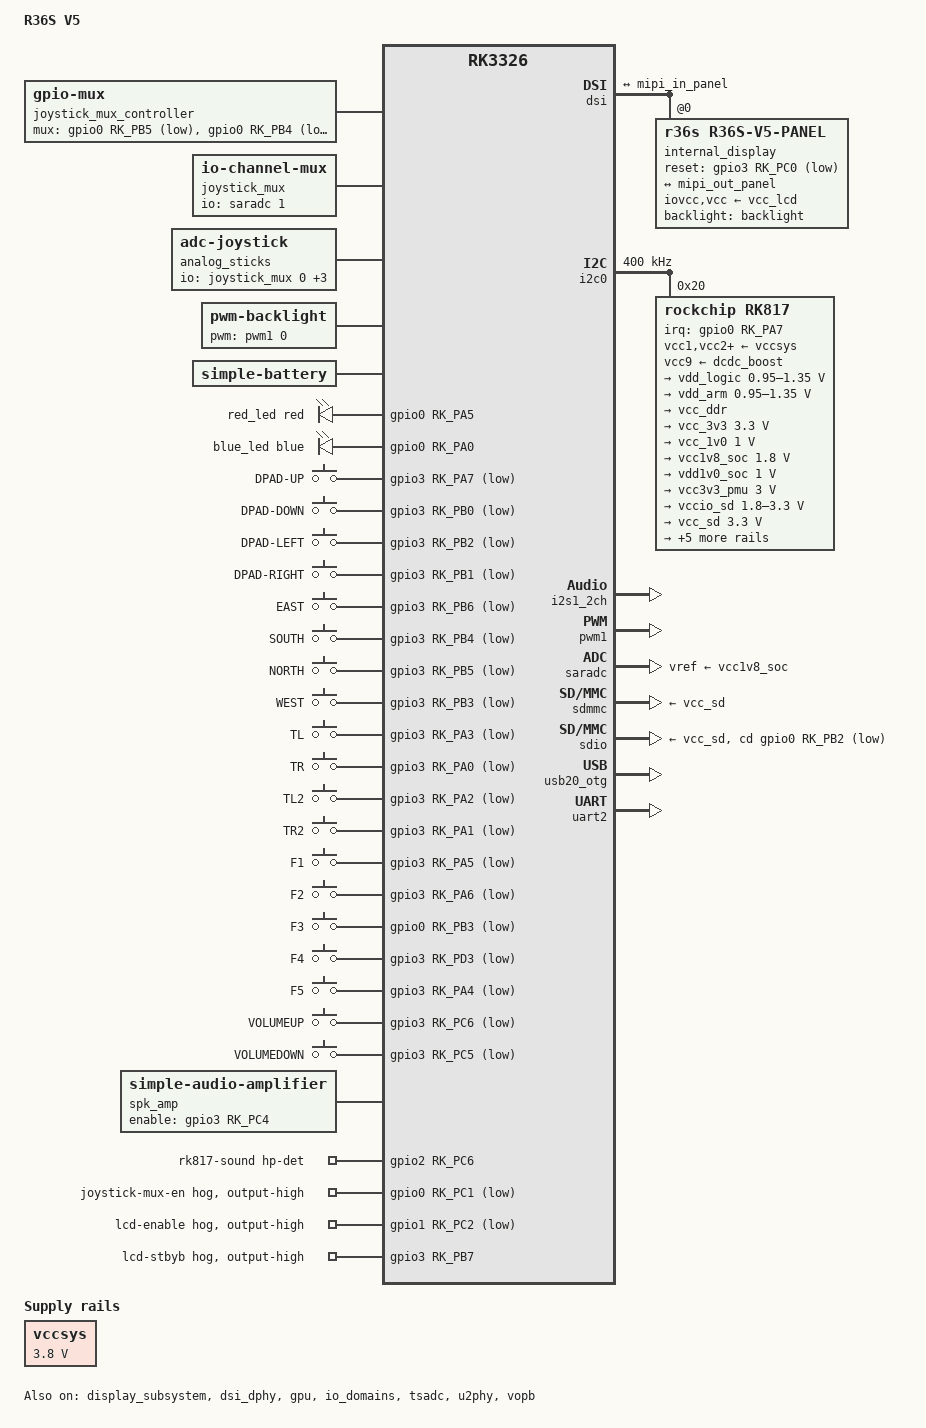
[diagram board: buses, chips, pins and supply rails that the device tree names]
// SPDX-License-Identifier: (GPL-2.0+ OR MIT)
/*
 * R36S "V5" handheld game console (Rockchip RK3326).
 *
 * Structure of rk3326-odroid-go3.dts and rk3326-gameforce-chi.dts (mainline). The values
 * come from the factory device tree of the device (rk3326-r35s-linux.dtb on its BOOT
 * partition; appendix A of the alpine-retroarch-distro design). OPPs and thermal zones
 * are those of rk3326.dtsi, unchanged.
 */

/dts-v1/;
#include <dt-bindings/gpio/gpio.h>
#include <dt-bindings/input/input.h>
#include <dt-bindings/leds/common.h>
#include <dt-bindings/pinctrl/rockchip.h>
#include "rk3326.dtsi"

/ {
	model = "R36S V5";
	compatible = "r36s,r36s-v5", "rockchip,rk3326";
	chassis-type = "handset";

	aliases {
		mmc0 = &sdmmc;
		mmc1 = &sdio;
	};

	chosen {
		stdout-path = "serial2:1500000n8";
	};

	/* Sticks: SARADC channel 1 behind a 4-way mux (A gpio0 13, B gpio0 12) */
	joystick_mux_controller: mux-controller {
		compatible = "gpio-mux";
		#mux-control-cells = <0>;
		mux-gpios = <&gpio0 RK_PB5 GPIO_ACTIVE_LOW>,
			    <&gpio0 RK_PB4 GPIO_ACTIVE_LOW>;
	};

	joystick_mux: adc-mux {
		compatible = "io-channel-mux";
		io-channels = <&saradc 1>;
		io-channel-names = "parent";
		#io-channel-cells = <1>;
		mux-controls = <&joystick_mux_controller>;
		channels = "0", "1", "2", "3";
	};

	/*
	 * Channels and directions from a scripted test on the user's R36S V5 (boot 19, log
	 * boot-10, 2026-11-13: each direction held, left stick first), read from the kernel
	 * events, not from the RetroArch menu. Left stick: channel 1 horizontal and channel 3
	 * vertical, both reading high to the left and up, so inverted. Right stick: channel 2
	 * horizontal and channel 0 vertical, both reading low to the left and up, as read.
	 * adc-joystick has no calibration, so each range is centred on the rest value
	 * measured on this device (boots 15 and 16: ch0 ~435, ch2 ~455, ch1 ~520, ch3 ~490)
	 * with +-330 of travel. Calibration at start is task 6.8.
	 */
	analog_sticks: adc-joystick {
		compatible = "adc-joystick";
		io-channels = <&joystick_mux 0>,
			      <&joystick_mux 1>,
			      <&joystick_mux 2>,
			      <&joystick_mux 3>;
		poll-interval = <10>;
		#address-cells = <1>;
		#size-cells = <0>;

		/* right stick, vertical */
		axis@0 {
			reg = <0>;
			abs-flat = <32>;
			abs-fuzz = <32>;
			abs-range = <105 765>;
			linux,code = <ABS_RY>;
		};

		/* left stick, horizontal (inverted) */
		axis@1 {
			reg = <1>;
			abs-flat = <32>;
			abs-fuzz = <32>;
			abs-range = <850 190>;
			linux,code = <ABS_X>;
		};

		/* right stick, horizontal */
		axis@2 {
			reg = <2>;
			abs-flat = <32>;
			abs-fuzz = <32>;
			abs-range = <125 785>;
			linux,code = <ABS_RX>;
		};

		/* left stick, vertical (inverted) */
		axis@3 {
			reg = <3>;
			abs-flat = <32>;
			abs-fuzz = <32>;
			abs-range = <820 160>;
			linux,code = <ABS_Y>;
		};
	};

	/* PWM1, 40 us period, levels 0-160, default 80 (factory values) */
	backlight: backlight {
		compatible = "pwm-backlight";
		pwms = <&pwm1 0 40000 0>;
		brightness-levels = <0 160>;
		num-interpolated-steps = <160>;
		default-brightness-level = <80>;
	};

	battery: battery {
		compatible = "simple-battery";
		charge-full-design-microamp-hours = <3188000>;
		charge-term-current-microamp = <300000>;
		constant-charge-current-max-microamp = <2000000>;
		constant-charge-voltage-max-microvolt = <4200000>;
		factory-internal-resistance-micro-ohms = <113000>;
		voltage-max-design-microvolt = <4200000>;
		voltage-min-design-microvolt = <3300000>;
		ocv-capacity-celsius = <20>;
		ocv-capacity-table-0 =  <4182000 100>, <4075000 95>, <4028000 90>, <4012000 85>,
					<3961000 80>, <3911000 75>, <3886000 70>, <3852000 65>,
					<3809000 60>, <3759000 55>, <3701000 50>, <3660000 45>,
					<3634000 40>, <3615000 35>, <3599000 30>, <3582000 25>,
					<3559000 20>, <3529000 15>, <3493000 10>, <3444000 5>,
					<3400000 0>;
	};

	gpio-leds {
		compatible = "gpio-leds";
		pinctrl-names = "default";
		pinctrl-0 = <&led_pins>;

		red_led: led-0 {
			color = <LED_COLOR_ID_RED>;
			function = LED_FUNCTION_INDICATOR;
			gpios = <&gpio0 RK_PA5 GPIO_ACTIVE_HIGH>;
		};

		/* lit by the initramfs as soon as the kernel reaches init */
		blue_led: led-1 {
			color = <LED_COLOR_ID_BLUE>;
			function = LED_FUNCTION_STATUS;
			gpios = <&gpio0 RK_PA0 GPIO_ACTIVE_HIGH>;
		};
	};

	/* 17 buttons, active low; r36os-padmerge joins them with the sticks (D8) */
	gpio-keys {
		compatible = "gpio-keys";
		pinctrl-names = "default";
		pinctrl-0 = <&btn_pins>;

		button-up {
			gpios = <&gpio3 RK_PA7 GPIO_ACTIVE_LOW>;
			label = "DPAD-UP";
			linux,code = <BTN_DPAD_UP>;
		};

		button-down {
			gpios = <&gpio3 RK_PB0 GPIO_ACTIVE_LOW>;
			label = "DPAD-DOWN";
			linux,code = <BTN_DPAD_DOWN>;
		};

		button-left {
			gpios = <&gpio3 RK_PB2 GPIO_ACTIVE_LOW>;
			label = "DPAD-LEFT";
			linux,code = <BTN_DPAD_LEFT>;
		};

		button-right {
			gpios = <&gpio3 RK_PB1 GPIO_ACTIVE_LOW>;
			label = "DPAD-RIGHT";
			linux,code = <BTN_DPAD_RIGHT>;
		};

		button-a {
			gpios = <&gpio3 RK_PB6 GPIO_ACTIVE_LOW>;
			label = "EAST";
			linux,code = <BTN_EAST>;
		};

		button-b {
			gpios = <&gpio3 RK_PB4 GPIO_ACTIVE_LOW>;
			label = "SOUTH";
			linux,code = <BTN_SOUTH>;
		};

		button-x {
			gpios = <&gpio3 RK_PB5 GPIO_ACTIVE_LOW>;
			label = "NORTH";
			linux,code = <BTN_NORTH>;
		};

		button-y {
			gpios = <&gpio3 RK_PB3 GPIO_ACTIVE_LOW>;
			label = "WEST";
			linux,code = <BTN_WEST>;
		};

		button-l1 {
			gpios = <&gpio3 RK_PA3 GPIO_ACTIVE_LOW>;
			label = "TL";
			linux,code = <BTN_TL>;
		};

		button-r1 {
			gpios = <&gpio3 RK_PA0 GPIO_ACTIVE_LOW>;
			label = "TR";
			linux,code = <BTN_TR>;
		};

		button-l2 {
			gpios = <&gpio3 RK_PA2 GPIO_ACTIVE_LOW>;
			label = "TL2";
			linux,code = <BTN_TL2>;
		};

		button-r2 {
			gpios = <&gpio3 RK_PA1 GPIO_ACTIVE_LOW>;
			label = "TR2";
			linux,code = <BTN_TR2>;
		};

		/* F1-F5: the order of the keys on the case is confirmed on the device */
		button-f1 {
			gpios = <&gpio3 RK_PA5 GPIO_ACTIVE_LOW>;
			label = "F1";
			linux,code = <BTN_TRIGGER_HAPPY1>;
		};

		button-f2 {
			gpios = <&gpio3 RK_PA6 GPIO_ACTIVE_LOW>;
			label = "F2";
			linux,code = <BTN_TRIGGER_HAPPY2>;
		};

		button-f3 {
			gpios = <&gpio0 RK_PB3 GPIO_ACTIVE_LOW>;
			label = "F3";
			linux,code = <BTN_TRIGGER_HAPPY3>;
		};

		button-f4 {
			gpios = <&gpio3 RK_PD3 GPIO_ACTIVE_LOW>;
			label = "F4";
			linux,code = <BTN_TRIGGER_HAPPY4>;
		};

		button-f5 {
			gpios = <&gpio3 RK_PA4 GPIO_ACTIVE_LOW>;
			label = "F5";
			linux,code = <BTN_TRIGGER_HAPPY5>;
		};
	};

	/* Volume keys (factory odroidgo3-keys), kept apart from the gamepad */
	volume-keys {
		compatible = "gpio-keys";
		pinctrl-names = "default";
		pinctrl-0 = <&vol_pins>;
		autorepeat;

		button-vol-up {
			gpios = <&gpio3 RK_PC6 GPIO_ACTIVE_LOW>;
			label = "VOLUMEUP";
			linux,code = <KEY_VOLUMEUP>;
		};

		button-vol-down {
			gpios = <&gpio3 RK_PC5 GPIO_ACTIVE_LOW>;
			label = "VOLUMEDOWN";
			linux,code = <KEY_VOLUMEDOWN>;
		};
	};

	/*
	 * Speaker stage enabled by gpio3 20 (spk-ctl-gpios of the factory codec node), after
	 * the RK817 speaker output (SPKO, its class D stage). The factory driver raises it only
	 * while the speaker path plays; held high all the time (boots 18 to 24) the speaker
	 * hummed from the start of the boot. As a simple-audio-amplifier, DAPM drives it with
	 * the speaker path. (Boots 16 and 17 were silent with this wiring because of the codec,
	 * fixed by patch 0024, not because of the amplifier.)
	 */
	spk_amp: audio-amplifier {
		compatible = "simple-audio-amplifier";
		enable-gpios = <&gpio3 RK_PC4 GPIO_ACTIVE_HIGH>;
		pinctrl-names = "default";
		pinctrl-0 = <&spk_amp_enable_h>;
		sound-name-prefix = "Speaker Amp";
	};

	rk817-sound {
		compatible = "simple-audio-card";
		pinctrl-names = "default";
		pinctrl-0 = <&hp_det>;
		simple-audio-card,name = "rk817_int";
		simple-audio-card,aux-devs = <&spk_amp>;
		simple-audio-card,format = "i2s";
		/*
		 * Active high, as the factory rk_headset node (headset_gpio, flag 0): the line reads
		 * low with nothing plugged in. Active low reported headphones all the time, the
		 * jack service kept the playback mux on HP and the speaker was silent (boot 16).
		 */
		simple-audio-card,hp-det-gpios = <&gpio2 RK_PC6 GPIO_ACTIVE_HIGH>;
		simple-audio-card,mclk-fs = <256>;
		simple-audio-card,widgets =
			"Microphone", "Mic Jack",
			"Headphone", "Headphones",
			"Speaker", "Internal Speakers";
		simple-audio-card,routing =
			"MICL", "Mic Jack",
			"Headphones", "HPOL",
			"Headphones", "HPOR",
			"Speaker Amp INL", "SPKO",
			"Speaker Amp INR", "SPKO",
			"Internal Speakers", "Speaker Amp OUTL",
			"Internal Speakers", "Speaker Amp OUTR";
		simple-audio-card,pin-switches = "Internal Speakers";

		simple-audio-card,codec {
			sound-dai = <&rk817>;
		};

		simple-audio-card,cpu {
			sound-dai = <&i2s1_2ch>;
		};
	};

	vccsys: regulator-vccsys {
		compatible = "regulator-fixed";
		regulator-name = "vcc3v8_sys";
		regulator-always-on;
		regulator-boot-on;
		regulator-min-microvolt = <3800000>;
		regulator-max-microvolt = <3800000>;
	};
};

&cpu0 {
	cpu-supply = <&vdd_arm>;
};

&cpu1 {
	cpu-supply = <&vdd_arm>;
};

&cpu2 {
	cpu-supply = <&vdd_arm>;
};

&cpu3 {
	cpu-supply = <&vdd_arm>;
};

&display_subsystem {
	status = "okay";
};

&dsi {
	#address-cells = <1>;
	#size-cells = <0>;
	status = "okay";
	/*
	 * The link as the factory kernel runs it (register dump of the running factory
	 * system, task 4.6): 180 Mbps per lane and the LP/HS transition times of
	 * PHY_TMR_LPCLK_CFG 0x00400040 and PHY_TMR_CFG 0x14102710 (kernel patch 0019).
	 */
	rockchip,lane-rate = <180>;
	rockchip,phy-hstt = <64 64 16 20>;

	/*
	 * The enable (gpio1 18, active low) and stbyb (gpio3 15, active high) lines of the
	 * factory panel node are held by the hogs below; the ST7703 driver only drives reset.
	 */
	internal_display: panel@0 {
		compatible = "r36s,r36s-v5-panel";
		reg = <0>;
		backlight = <&backlight>;
		iovcc-supply = <&vcc_lcd>;
		vcc-supply = <&vcc_lcd>;
		reset-gpios = <&gpio3 RK_PC0 GPIO_ACTIVE_LOW>;

		port {
			mipi_in_panel: endpoint {
				remote-endpoint = <&mipi_out_panel>;
			};
		};
	};

	ports {
		mipi_out: port@1 {
			reg = <1>;

			mipi_out_panel: endpoint {
				remote-endpoint = <&mipi_in_panel>;
			};
		};
	};
};

&dsi_dphy {
	/* as the factory firmware leaves it (kernel patch 0011) */
	rockchip,txclkesc-not-inverted;
	status = "okay";
};

&gpio0 {
	/* enable of the stick multiplexer (active low) */
	joystick-mux-en-hog {
		gpio-hog;
		gpios = <RK_PC1 GPIO_ACTIVE_LOW>;
		output-high;
		line-name = "joystick-mux-en";
	};
};

&gpio1 {
	lcd-enable-hog {
		gpio-hog;
		gpios = <RK_PC2 GPIO_ACTIVE_LOW>;
		output-high;
		line-name = "lcd-enable";
	};
};

&gpio3 {
	lcd-stbyb-hog {
		gpio-hog;
		gpios = <RK_PB7 GPIO_ACTIVE_HIGH>;
		output-high;
		line-name = "lcd-stbyb";
	};
};

&gpu {
	mali-supply = <&vdd_logic>;
	status = "okay";
};

&i2c0 {
	clock-frequency = <400000>;
	i2c-scl-falling-time-ns = <16>;
	i2c-scl-rising-time-ns = <280>;
	status = "okay";

	rk817: pmic@20 {
		compatible = "rockchip,rk817";
		reg = <0x20>;
		#clock-cells = <1>;
		clock-names = "mclk";
		clock-output-names = "rk808-clkout1", "xin32k";
		clocks = <&cru SCLK_I2S1_OUT>;
		interrupt-parent = <&gpio0>;
		interrupts = <RK_PA7 IRQ_TYPE_LEVEL_LOW>;
		pinctrl-names = "default";
		pinctrl-0 = <&pmic_int>, <&i2s1_2ch_mclk>;
		#sound-dai-cells = <0>;
		system-power-controller;
		wakeup-source;

		vcc1-supply = <&vccsys>;
		vcc2-supply = <&vccsys>;
		vcc3-supply = <&vccsys>;
		vcc4-supply = <&vccsys>;
		vcc5-supply = <&vccsys>;
		vcc6-supply = <&vccsys>;
		vcc7-supply = <&vccsys>;
		vcc8-supply = <&vccsys>;
		vcc9-supply = <&dcdc_boost>;

		regulators {
			vdd_logic: DCDC_REG1 {
				regulator-always-on;
				regulator-boot-on;
				regulator-min-microvolt = <950000>;
				regulator-max-microvolt = <1350000>;
				regulator-name = "vdd_logic";
				regulator-ramp-delay = <6001>;

				regulator-state-mem {
					regulator-on-in-suspend;
					regulator-suspend-microvolt = <950000>;
				};
			};

			vdd_arm: DCDC_REG2 {
				regulator-always-on;
				regulator-boot-on;
				regulator-min-microvolt = <950000>;
				regulator-max-microvolt = <1350000>;
				regulator-name = "vdd_arm";
				regulator-ramp-delay = <6001>;

				regulator-state-mem {
					regulator-off-in-suspend;
					regulator-suspend-microvolt = <950000>;
				};
			};

			vcc_ddr: DCDC_REG3 {
				regulator-always-on;
				regulator-boot-on;
				regulator-name = "vcc_ddr";

				regulator-state-mem {
					regulator-on-in-suspend;
				};
			};

			vcc_3v3: DCDC_REG4 {
				regulator-always-on;
				regulator-boot-on;
				regulator-min-microvolt = <3300000>;
				regulator-max-microvolt = <3300000>;
				regulator-name = "vcc_3v3";

				regulator-state-mem {
					regulator-on-in-suspend;
					regulator-suspend-microvolt = <3300000>;
				};
			};

			vcc_1v0: LDO_REG1 {
				regulator-always-on;
				regulator-boot-on;
				regulator-min-microvolt = <1000000>;
				regulator-max-microvolt = <1000000>;
				regulator-name = "vcc_1v0";

				regulator-state-mem {
					regulator-off-in-suspend;
					regulator-suspend-microvolt = <1000000>;
				};
			};

			vcc1v8_soc: LDO_REG2 {
				regulator-always-on;
				regulator-boot-on;
				regulator-min-microvolt = <1800000>;
				regulator-max-microvolt = <1800000>;
				regulator-name = "vcc1v8_soc";

				regulator-state-mem {
					regulator-on-in-suspend;
					regulator-suspend-microvolt = <1800000>;
				};
			};

			vdd1v0_soc: LDO_REG3 {
				regulator-always-on;
				regulator-boot-on;
				regulator-min-microvolt = <1000000>;
				regulator-max-microvolt = <1000000>;
				regulator-name = "vdd1v0_soc";

				regulator-state-mem {
					regulator-on-in-suspend;
					regulator-suspend-microvolt = <1000000>;
				};
			};

			vcc3v3_pmu: LDO_REG4 {
				regulator-always-on;
				regulator-boot-on;
				regulator-min-microvolt = <3000000>;
				regulator-max-microvolt = <3000000>;
				regulator-name = "vcc3v3_pmu";

				regulator-state-mem {
					regulator-on-in-suspend;
					regulator-suspend-microvolt = <3000000>;
				};
			};

			vccio_sd: LDO_REG5 {
				regulator-always-on;
				regulator-boot-on;
				regulator-min-microvolt = <1800000>;
				regulator-max-microvolt = <3300000>;
				regulator-name = "vccio_sd";

				regulator-state-mem {
					regulator-on-in-suspend;
					regulator-suspend-microvolt = <3300000>;
				};
			};

			vcc_sd: LDO_REG6 {
				regulator-boot-on;
				regulator-min-microvolt = <3300000>;
				regulator-max-microvolt = <3300000>;
				regulator-name = "vcc_sd";

				regulator-state-mem {
					regulator-on-in-suspend;
					regulator-suspend-microvolt = <3300000>;
				};
			};

			vcc2v8_dvp: LDO_REG7 {
				regulator-always-on;
				regulator-boot-on;
				regulator-min-microvolt = <3300000>;
				regulator-max-microvolt = <3300000>;
				regulator-name = "vcc2v8_dvp";

				regulator-state-mem {
					regulator-off-in-suspend;
					regulator-suspend-microvolt = <3300000>;
				};
			};

			/* panel supply (vcc and iovcc of the ST7703) */
			vcc_lcd: LDO_REG8 {
				regulator-always-on;
				regulator-boot-on;
				regulator-min-microvolt = <1800000>;
				regulator-max-microvolt = <1800000>;
				regulator-name = "vcc_lcd";

				regulator-state-mem {
					regulator-off-in-suspend;
					regulator-suspend-microvolt = <1800000>;
				};
			};

			vdd_11: LDO_REG9 {
				regulator-always-on;
				regulator-boot-on;
				regulator-min-microvolt = <1100000>;
				regulator-max-microvolt = <1100000>;
				regulator-name = "vdd_11";

				regulator-state-mem {
					regulator-on-in-suspend;
					regulator-suspend-microvolt = <1100000>;
				};
			};

			dcdc_boost: BOOST {
				regulator-always-on;
				regulator-boot-on;
				regulator-min-microvolt = <4700000>;
				regulator-max-microvolt = <5400000>;
				regulator-name = "boost";
			};

			otg_switch: OTG_SWITCH {
				regulator-boot-on;
				regulator-name = "otg_switch";
			};
		};

		rk817_charger: charger {
			monitored-battery = <&battery>;
			rockchip,resistor-sense-micro-ohms = <10000>;
			rockchip,sleep-enter-current-microamp = <300000>;
			rockchip,sleep-filter-current-microamp = <100000>;
		};
	};
};

&i2s1_2ch {
	status = "okay";
};

&io_domains {
	vccio1-supply = <&vccio_sd>;
	vccio2-supply = <&vccio_sd>;
	vccio3-supply = <&vcc_3v3>;
	vccio4-supply = <&vcc_3v3>;
	vccio5-supply = <&vcc_3v3>;
	vccio6-supply = <&vcc_3v3>;
	status = "okay";
};

&pinctrl {
	btns {
		btn_pins: btn-pins {
			rockchip,pins =
				<0 RK_PB3 RK_FUNC_GPIO &pcfg_pull_up>,
				<3 RK_PA0 RK_FUNC_GPIO &pcfg_pull_up>,
				<3 RK_PA1 RK_FUNC_GPIO &pcfg_pull_up>,
				<3 RK_PA2 RK_FUNC_GPIO &pcfg_pull_up>,
				<3 RK_PA3 RK_FUNC_GPIO &pcfg_pull_up>,
				<3 RK_PA4 RK_FUNC_GPIO &pcfg_pull_up>,
				<3 RK_PA5 RK_FUNC_GPIO &pcfg_pull_up>,
				<3 RK_PA6 RK_FUNC_GPIO &pcfg_pull_up>,
				<3 RK_PA7 RK_FUNC_GPIO &pcfg_pull_up>,
				<3 RK_PB0 RK_FUNC_GPIO &pcfg_pull_up>,
				<3 RK_PB1 RK_FUNC_GPIO &pcfg_pull_up>,
				<3 RK_PB2 RK_FUNC_GPIO &pcfg_pull_up>,
				<3 RK_PB3 RK_FUNC_GPIO &pcfg_pull_up>,
				<3 RK_PB4 RK_FUNC_GPIO &pcfg_pull_up>,
				<3 RK_PB5 RK_FUNC_GPIO &pcfg_pull_up>,
				<3 RK_PB6 RK_FUNC_GPIO &pcfg_pull_up>,
				<3 RK_PD3 RK_FUNC_GPIO &pcfg_pull_up>;
		};

		vol_pins: vol-pins {
			rockchip,pins =
				<3 RK_PC5 RK_FUNC_GPIO &pcfg_pull_up>,
				<3 RK_PC6 RK_FUNC_GPIO &pcfg_pull_up>;
		};
	};

	headphone {
		hp_det: hp-det {
			rockchip,pins =
				<2 RK_PC6 RK_FUNC_GPIO &pcfg_pull_up>;
		};
	};

	leds {
		led_pins: led-pins {
			rockchip,pins =
				<0 RK_PA0 RK_FUNC_GPIO &pcfg_pull_none>,
				<0 RK_PA5 RK_FUNC_GPIO &pcfg_pull_none>;
		};
	};

	pmic {
		pmic_int: pmic-int {
			rockchip,pins =
				<0 RK_PA7 RK_FUNC_GPIO &pcfg_pull_up>;
		};
	};

	speaker {
		spk_amp_enable_h: spk-amp-enable-h {
			rockchip,pins =
				<3 RK_PC4 RK_FUNC_GPIO &pcfg_pull_none>;
		};
	};
};

&pmu_io_domains {
	pmuio1-supply = <&vcc3v3_pmu>;
	pmuio2-supply = <&vcc3v3_pmu>;
	status = "okay";
};

&pwm1 {
	status = "okay";
};

&saradc {
	vref-supply = <&vcc1v8_soc>;
	status = "okay";
};

/* TF1: the system card (card detect on the native sdmmc_det pin, gpio0 3) */
&sdmmc {
	cap-mmc-highspeed;
	cap-sd-highspeed;
	no-sdio;
	sd-uhs-sdr12;
	sd-uhs-sdr25;
	sd-uhs-sdr50;
	sd-uhs-sdr104;
	vmmc-supply = <&vcc_sd>;
	vqmmc-supply = <&vccio_sd>;
	status = "okay";
};

/* TF2: second slot (card detect gpio0 10); what to do with it is P-16 */
&sdio {
	cap-mmc-highspeed;
	cap-sd-highspeed;
	cd-gpios = <&gpio0 RK_PB2 GPIO_ACTIVE_LOW>;
	no-sdio;
	sd-uhs-sdr12;
	sd-uhs-sdr25;
	sd-uhs-sdr50;
	sd-uhs-sdr104;
	vmmc-supply = <&vcc_sd>;
	vqmmc-supply = <&vccio_sd>;
	status = "okay";
};

&tsadc {
	status = "okay";
};

&u2phy {
	status = "okay";

	u2phy_otg: otg-port {
		status = "okay";
	};
};

&usb20_otg {
	status = "okay";
};

/* debug serial: UART2 on the m1 pins, 1500000 baud like the factory bootloader */
&uart2 {
	pinctrl-names = "default";
	pinctrl-0 = <&uart2m1_xfer>;
	status = "okay";
};

&vopb {
	status = "okay";
};

&vopb_mmu {
	status = "okay";
};
